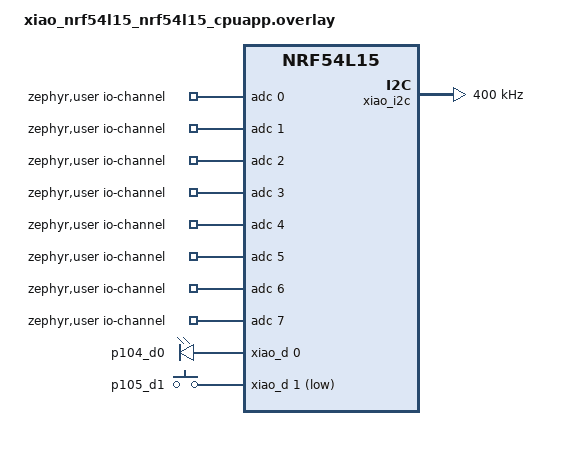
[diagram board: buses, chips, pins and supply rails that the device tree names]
/ {
    zephyr,user {
		io-channels = <&adc 0>, <&adc 1>, <&adc 2>, <&adc 3>,
			<&adc 4>, <&adc 5>, <&adc 6>, <&adc 7>;
	};

    o_ports {
		compatible = "gpio-leds";

		p104_d0: p104_d0 {
			gpios = <&xiao_d 0 GPIO_ACTIVE_HIGH>;
		};
	};

	i_port {
		compatible = "gpio-keys";

		p105_d1: p105_d1 {
			gpios = <&xiao_d 1 (GPIO_PULL_UP | GPIO_ACTIVE_LOW)>;
			zephyr,code = <INPUT_KEY_ENTER>;
		};
	};

    aliases {
		p104d0 = &p104_d0;
		p105d1 = &p105_d1;
    };
};

&xiao_i2c {
    clock-frequency = <400000>;
    status = "okay";
};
